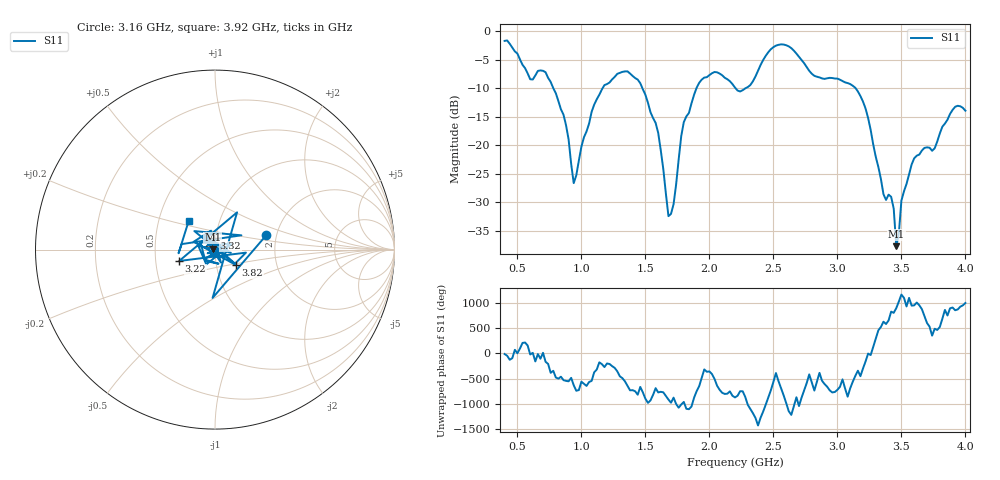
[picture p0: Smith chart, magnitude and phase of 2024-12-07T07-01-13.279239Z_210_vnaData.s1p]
!Created with skrf (http://scikit-rf.org).
# Hz S RI R 50.0
!freq ReS11 ImS11
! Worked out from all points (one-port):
!   181 points, 400 MHz to 4 GHz, reference 50 ohm
!   lowest |S11| = -37.7 dB at 3.46 GHz (marker M1), VSWR 1.03, Z = 48.7 + j0.144 ohm
!   |S11| at or under -10 dB: 780.4 MHz to 1.166 GHz (385.4 MHz wide, 39.6 % of centre); 1.477 GHz to 1.899 GHz (422.3 MHz wide, 25 % of centre); 3.142 GHz to end of sweep (the widest 3 of 4)
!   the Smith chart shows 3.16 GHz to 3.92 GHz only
!   S11 on the Smith chart (normalised r, x): 3.16 GHz: 1.76, +0.31; 3.22 GHz: 0.66, -0.09; 3.32 GHz: 0.98, +0.13; 3.82 GHz: 1.24, -0.22; 3.92 GHz: 0.71, +0.24
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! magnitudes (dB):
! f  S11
! 400 MHz  -1.7
! 600 MHz  -8.4
! 720 MHz  -7.2
! 860 MHz  -14.6
! 940 MHz  -26.6
! 1.1 GHz  -12.9
! 1.3 GHz  -7.3
! 1.44 GHz  -8.5
! 1.58 GHz  -16.1
! 1.68 GHz  -32.4
! 1.72 GHz  -30.3
! 1.76 GHz  -22.5
! 1.8 GHz  -15.9
! 1.92 GHz  -9.1
! 2.2 GHz  -9.9
! 2.5 GHz  -2.8
! 2.66 GHz  -3.4
! 3.1 GHz  -9.3
! 3.16 GHz  -10.6
! 3.22 GHz  -13.6
! 3.32 GHz  -23.8
! 3.42 GHz  -29.0
! 3.46 GHz  -37.7
! 3.5 GHz  -29.7
! 3.56 GHz  -25.1
! 3.82 GHz  -16.7
! 3.92 GHz  -13.3
! 4 GHz  -13.9
